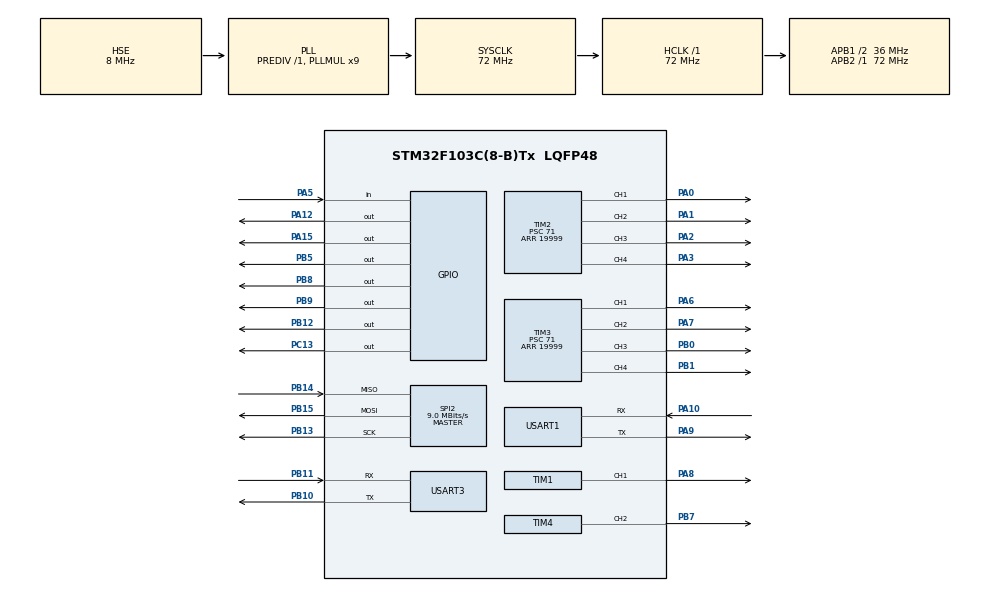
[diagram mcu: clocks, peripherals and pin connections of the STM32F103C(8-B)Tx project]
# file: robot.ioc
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Dma.Request0=TIM4_CH2
Dma.TIM4_CH2.0.Direction=DMA_MEMORY_TO_PERIPH
Dma.TIM4_CH2.0.Instance=DMA1_Channel4
Dma.TIM4_CH2.0.MemDataAlignment=DMA_MDATAALIGN_HALFWORD
Dma.TIM4_CH2.0.MemInc=DMA_MINC_ENABLE
Dma.TIM4_CH2.0.Mode=DMA_NORMAL
Dma.TIM4_CH2.0.PeriphDataAlignment=DMA_PDATAALIGN_HALFWORD
Dma.TIM4_CH2.0.PeriphInc=DMA_PINC_DISABLE
Dma.TIM4_CH2.0.Priority=DMA_PRIORITY_HIGH
FREERTOS.Tasks01=defaultTask,0,128,StartDefaultTask,Default,NULL,Dynamic,NULL,NULL
FREERTOS.configTOTAL_HEAP_SIZE=8192
Mcu.Family=STM32F1
Mcu.Name=STM32F103C(8-B)Tx
Mcu.Package=LQFP48
NVIC.DMA1_Channel4_IRQn=true\:5\:0\:false\:false\:true\:true\:false\:true\:true
NVIC.PriorityGroup=NVIC_PRIORITYGROUP_4
NVIC.USART1_IRQn=true\:5\:0\:false\:false\:true\:true\:true\:true\:true
NVIC.USART3_IRQn=true\:5\:0\:false\:false\:true\:true\:true\:true\:true
PA0-WKUP.Signal=S_TIM2_CH1_ETR
PA1.Signal=S_TIM2_CH2
PA10.GPIO_PuPd=GPIO_PULLUP
PA10.Mode=Asynchronous
PA10.Signal=USART1_RX
PA12.Signal=GPIO_Output
PA13.Mode=Serial_Wire
PA13.Signal=SYS_JTMS-SWDIO
PA14.Mode=Serial_Wire
PA14.Signal=SYS_JTCK-SWCLK
PA15.GPIO_Speed=GPIO_SPEED_FREQ_HIGH
PA15.Signal=GPIO_Output
PA2.Signal=S_TIM2_CH3
PA3.Signal=S_TIM2_CH4
PA5.GPIO_PuPd=GPIO_PULLUP
PA5.Signal=GPIO_Input
PA6.Signal=S_TIM3_CH1
PA7.GPIO_Speed=GPIO_SPEED_FREQ_LOW
PA7.Signal=S_TIM3_CH2
PA8.Signal=S_TIM1_CH1
PA9.Mode=Asynchronous
PA9.Signal=USART1_TX
PB0.Signal=S_TIM3_CH3
PB1.Signal=S_TIM3_CH4
PB10.Mode=Asynchronous
PB10.Signal=USART3_TX
PB11.GPIO_PuPd=GPIO_PULLUP
PB11.Mode=Asynchronous
PB11.Signal=USART3_RX
PB12.Signal=GPIO_Output
PB13.Mode=Full_Duplex_Master
PB13.Signal=SPI2_SCK
PB14.Mode=Full_Duplex_Master
PB14.Signal=SPI2_MISO
PB15.Mode=Full_Duplex_Master
PB15.Signal=SPI2_MOSI
PB5.Signal=GPIO_Output
PB7.GPIO_Speed=GPIO_SPEED_FREQ_HIGH
PB7.Signal=S_TIM4_CH2
PB8.GPIO_ModeDefaultOutputPP=GPIO_MODE_OUTPUT_OD
PB8.GPIO_PuPd=GPIO_NOPULL
PB8.GPIO_Speed=GPIO_SPEED_FREQ_HIGH
PB8.Signal=GPIO_Output
PB9.GPIO_ModeDefaultOutputPP=GPIO_MODE_OUTPUT_OD
PB9.GPIO_PuPd=GPIO_PULLUP
PB9.GPIO_Speed=GPIO_SPEED_FREQ_HIGH
PB9.Signal=GPIO_Output
PC13-TAMPER-RTC.GPIO_ModeDefaultOutputPP=GPIO_MODE_OUTPUT_PP
PC13-TAMPER-RTC.GPIO_PuPd=GPIO_NOPULL
PC13-TAMPER-RTC.PinState=GPIO_PIN_RESET
PC13-TAMPER-RTC.Signal=GPIO_Output
PD0-OSC_IN.Mode=HSE-External-Oscillator
PD0-OSC_IN.Signal=RCC_OSC_IN
PD1-OSC_OUT.Mode=HSE-External-Oscillator
PD1-OSC_OUT.Signal=RCC_OSC_OUT
ProjectManager.HeapSize=0x200
ProjectManager.StackSize=0x400
ProjectManager.TargetToolchain=STM32CubeIDE
RCC.AHBFreq_Value=72000000
RCC.APB1CLKDivider=RCC_HCLK_DIV2
RCC.APB1Freq_Value=36000000
RCC.APB1TimFreq_Value=72000000
RCC.APB2Freq_Value=72000000
RCC.APB2TimFreq_Value=72000000
RCC.HCLKFreq_Value=72000000
RCC.PLLMUL=RCC_PLL_MUL9
RCC.PLLSourceVirtual=RCC_PLLSOURCE_HSE
RCC.SYSCLKFreq_VALUE=72000000
RCC.SYSCLKSource=RCC_SYSCLKSOURCE_PLLCLK
RCC.USBFreq_Value=72000000
SH.S_TIM1_CH1.0=TIM1_CH1,PWM Generation1 CH1
SH.S_TIM2_CH1_ETR.0=TIM2_CH1,PWM Generation1 CH1
SH.S_TIM2_CH2.0=TIM2_CH2,PWM Generation2 CH2
SH.S_TIM2_CH3.0=TIM2_CH3,PWM Generation3 CH3
SH.S_TIM2_CH4.0=TIM2_CH4,PWM Generation4 CH4
SH.S_TIM3_CH1.0=TIM3_CH1,PWM Generation1 CH1
SH.S_TIM3_CH2.0=TIM3_CH2,PWM Generation2 CH2
SH.S_TIM3_CH3.0=TIM3_CH3,PWM Generation3 CH3
SH.S_TIM3_CH4.0=TIM3_CH4,PWM Generation4 CH4
SH.S_TIM4_CH2.0=TIM4_CH2,PWM Generation2 CH2
SPI2.BaudRatePrescaler=SPI_BAUDRATEPRESCALER_4
SPI2.CalculateBaudRate=9.0 MBits/s
SPI2.Direction=SPI_DIRECTION_2LINES
SPI2.Mode=SPI_MODE_MASTER
SPI2.VirtualType=VM_MASTER
TIM1.Channel-PWM\ Generation1\ CH1=TIM_CHANNEL_1
TIM1.Period=19999
TIM1.Prescaler=71
TIM2.Channel-PWM\ Generation1\ CH1=TIM_CHANNEL_1
TIM2.Channel-PWM\ Generation2\ CH2=TIM_CHANNEL_2
TIM2.Channel-PWM\ Generation3\ CH3=TIM_CHANNEL_3
TIM2.Channel-PWM\ Generation4\ CH4=TIM_CHANNEL_4
TIM2.Period=19999
TIM2.Prescaler=71
TIM3.Channel-PWM\ Generation1\ CH1=TIM_CHANNEL_1
TIM3.Channel-PWM\ Generation2\ CH2=TIM_CHANNEL_2
TIM3.Channel-PWM\ Generation3\ CH3=TIM_CHANNEL_3
TIM3.Channel-PWM\ Generation4\ CH4=TIM_CHANNEL_4
TIM3.Period=19999
TIM3.Prescaler=71
TIM4.AutoReloadPreload=TIM_AUTORELOAD_PRELOAD_ENABLE
TIM4.Channel-PWM\ Generation2\ CH2=TIM_CHANNEL_2
TIM4.Period=89
USART1.VirtualMode=VM_ASYNC
USART3.VirtualMode=VM_ASYNC
VP_FREERTOS_VS_CMSIS_V1.Mode=CMSIS_V1
VP_TIM1_VS_ClockSourceINT.Mode=Internal
VP_TIM2_VS_ClockSourceINT.Mode=Internal
VP_TIM3_VS_ClockSourceINT.Mode=Internal
VP_TIM4_VS_ClockSourceINT.Mode=Internal
board=custom

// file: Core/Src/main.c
/* USER CODE BEGIN Header */
  /**
    ******************************************************************************
    * @file           : main.c
    * @brief          : Main program body
    ******************************************************************************
    * @attention
    *
    * Copyright (c) 2026 STMicroelectronics.
    * All rights reserved.
    *
    * This software is licensed under terms that can be found in the LICENSE file
    * in the root directory of this software component.
    * If no LICENSE file comes with this software, it is provided AS-IS.
    *
    ******************************************************************************
    */
/* USER CODE END Header */
#include "main.h"
#include "cmsis_os.h"
#include "dma.h"
#include "spi.h"
#include "tim.h"
#include "usart.h"
#include "gpio.h"

/* USER CODE BEGIN Includes */
  #include "OLED.h"
  #include "LED.h"
  #include "PWM.h"
  #include "BOO.h"
  #include "Input.h"
  #include "Servo.h"
  #include "Serial.h"
  #include "Input.h"
  #include <string.h>
  #include <stdlib.h>
  #include <stdio.h>
  #include <math.h>
/* USER CODE END Includes */

/* USER CODE BEGIN PV */

  extern const unsigned char BiLi[];
  extern const unsigned char DOUYIN[];
  extern const unsigned char LiC[];

  volatile float Angle1 = 90.0f;
  volatile float Angle2 = 90.0f;
  volatile float Angle3 = 90.0f;
  volatile float Angle4 = 90.0f;
  volatile float Angle5 = 0.0f;
  volatile float Angle6 = 180.0f;
  volatile float Angle7 = 0.0f;
  volatile float Angle8 = 180.0f;
  const float MinServoStep = 0.5f;
  const float MaxServoStep = 8.0f;
  const float FastThreshold = 20.0f;
  const float SlowThreshold = 2.0f;

  volatile GaitMode_t gaitMode = GAIT_IDLE;
  volatile uint8_t  gaitStep = 0;
  volatile uint16_t gaitDelayCnt = 0;

  const uint16_t GAIT_DELAY_FORWARD   = 8;
  const uint16_t GAIT_DELAY_BACKWARD  = 8;
  const uint16_t GAIT_DELAY_TURNLEFT  = 10;
  const uint16_t GAIT_DELAY_TURNRIGHT = 10;
  const uint16_t GAIT_DELAY_ROTATECW  = 10;
  const uint16_t GAIT_DELAY_ROTATECCW = 10;
  const uint16_t GAIT_DELAY_SIT       = 12;

  uint8_t oledRefreshCnt = 0;
  const uint8_t OLED_REFRESH_INTERVAL = 8;

  volatile uint8_t LED_State = 0;
  volatile uint16_t LED_DelayCnt = 0;
  const uint16_t LED_DELAY_TIME = 12;

  volatile uint8_t Huadong_State = 0;
  volatile uint8_t Huadong_Step = 0;
  const uint8_t MAX_STEP = 15;
  const uint8_t STEP_INTERVAL = 1;
  volatile uint8_t step_delay = 0;
  volatile uint8_t huadong_release_flag = 0;

  uint16_t booOffCnt = 0;
/* USER CODE END PV */

void SystemClock_Config(void);
void MX_FREERTOS_Init(void);

/* USER CODE BEGIN 0 */
  void SetStandPosture(void) {
       Angle1 = 135.0f; Angle2 = 45.0f;
       Angle3 = 45.0f;  Angle4 = 135.0f;
       Angle5 = 90.0f;  Angle6 = 90.0f;
       Angle7 = 90.0f;  Angle8 = 90.0f;
   }
  void ResetAll(void)
  {
	  SetStandPosture();

      gaitMode = GAIT_IDLE;
      gaitStep = 0;
      gaitDelayCnt = 0;
      OLED_Clear();
      OLED_ShowImage(0, 0, 128, 64, happy);
      OLED_Update();
  }

  void Huadong_Smooth(void)
   {
       OLED_Clear();
       OLED_ShowImage(0, 0, 128, 64, sad);
       OLED_Update();

       // 肩膀保持站立姿态
       Angle1 = 135.0f;
       Angle2 = 45.0f;
       Angle3 = 45.0f;
       Angle4 = 135.0f;
       Servo_SetAngle1(Angle1);
       Servo_SetAngle2(Angle2);
       Servo_SetAngle3(Angle3);
       Servo_SetAngle4(Angle4);

       step_delay++;
       if (step_delay < STEP_INTERVAL) return;
       step_delay = 0;

       switch(Huadong_State)
       {
           case 1:
               Huadong_Step++;
               if (Huadong_Step >= MAX_STEP)
               {
                   Huadong_Step = MAX_STEP;
                   Huadong_State = 2;
               }
               break;
           case 2:
               Huadong_Step--;
               if (Huadong_Step <= 0)
               {
                   Huadong_Step = 0;
                   Huadong_State = 1;
               }
               break;
           default:
               return;
       }

       // 四膝从90向中心收拢再展开
       Angle5 = 90 - (Huadong_Step * 2);   // 90 → 60 → 90
       Angle7 = 90 - (Huadong_Step * 2);
       Angle6 = 90 + (Huadong_Step * 2);   // 90 → 120 → 90
       Angle8 = 90 + (Huadong_Step * 2);

       Servo_SetAngle5(Angle5); Servo_SetAngle6(Angle6);
       Servo_SetAngle7(Angle7); Servo_SetAngle8(Angle8);
   }

/* USER CODE END 0 */

int main(void)
{

  /* MCU Configuration--------------------------------------------------------*/

  /* Reset of all peripherals, Initializes the Flash interface and the Systick. */
  HAL_Init();

  /* Configure the system clock */
  SystemClock_Config();

  /* Initialize all configured peripherals */
  MX_GPIO_Init();
  MX_DMA_Init();
  MX_USART1_UART_Init();
  MX_TIM1_Init();
  MX_TIM2_Init();
  MX_TIM3_Init();
  MX_TIM4_Init();
  MX_USART3_UART_Init();
  MX_SPI2_Init();
  /* USER CODE BEGIN 2 */
    Servo_Init();
    Input_Init();
    BOO_Init();
    OLED_Init();
    LED_Init();
    LED_StartBlink();
    ResetAll();
  /* USER CODE END 2 */

  /* Call init function for freertos objects (in cmsis_os2.c) */
  MX_FREERTOS_Init();

  /* Start scheduler */
  osKernelStart();

  /* We should never get here as control is now taken by the scheduler */

  /* Infinite loop */
    while (1)
    {

    }
}

void SystemClock_Config(void)
{
  RCC_OscInitTypeDef RCC_OscInitStruct = {0};
  RCC_ClkInitTypeDef RCC_ClkInitStruct = {0};

  /** Initializes the RCC Oscillators according to the specified parameters
  * in the RCC_OscInitTypeDef structure.
  */
  RCC_OscInitStruct.OscillatorType = RCC_OSCILLATORTYPE_HSE;
  RCC_OscInitStruct.HSEState = RCC_HSE_ON;
  RCC_OscInitStruct.HSEPredivValue = RCC_HSE_PREDIV_DIV1;
  RCC_OscInitStruct.HSIState = RCC_HSI_ON;
  RCC_OscInitStruct.PLL.PLLState = RCC_PLL_ON;
  RCC_OscInitStruct.PLL.PLLSource = RCC_PLLSOURCE_HSE;
  RCC_OscInitStruct.PLL.PLLMUL = RCC_PLL_MUL9;
  if (HAL_RCC_OscConfig(&RCC_OscInitStruct) != HAL_OK)
  {
    Error_Handler();
  }

  /** Initializes the CPU, AHB and APB buses clocks
  */
  RCC_ClkInitStruct.ClockType = RCC_CLOCKTYPE_HCLK|RCC_CLOCKTYPE_SYSCLK
                              |RCC_CLOCKTYPE_PCLK1|RCC_CLOCKTYPE_PCLK2;
  RCC_ClkInitStruct.SYSCLKSource = RCC_SYSCLKSOURCE_PLLCLK;
  RCC_ClkInitStruct.AHBCLKDivider = RCC_SYSCLK_DIV1;
  RCC_ClkInitStruct.APB1CLKDivider = RCC_HCLK_DIV2;
  RCC_ClkInitStruct.APB2CLKDivider = RCC_HCLK_DIV1;

  if (HAL_RCC_ClockConfig(&RCC_ClkInitStruct, FLASH_LATENCY_2) != HAL_OK)
  {
    Error_Handler();
  }
}

void Error_Handler(void)
{
    __disable_irq();
    while (1)
    {
    }
}

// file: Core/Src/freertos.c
/* USER CODE BEGIN Header */
  /**
    ******************************************************************************
    * File Name          : freertos.c
    * Description        : Code for freertos applications
    ******************************************************************************
    */
/* USER CODE END Header */

#include "FreeRTOS.h"
#include "task.h"
#include "main.h"
#include "cmsis_os.h"

/* USER CODE BEGIN Includes */
  #include "OLED.h"
  #include "LED.h"
  #include "BOO.h"
  #include "Servo.h"
  #include "Serial.h"
  #include "WS2812B.h"
  #include "NRF24L01.h"
  #include <string.h>
  #include <stdlib.h>
  #include <stdio.h>
  #include <math.h>
/* USER CODE END Includes */

/* USER CODE BEGIN Variables */

  //外部变量：定义在 main.c 里，这里用 extern 引用
  extern volatile float Angle1, Angle2, Angle3, Angle4;
  extern volatile float Angle5, Angle6, Angle7, Angle8;
  extern const float MinServoStep, MaxServoStep, FastThreshold, SlowThreshold;

  // 步态状态机
  extern volatile GaitMode_t gaitMode;
  extern volatile uint8_t  gaitStep;
  extern volatile uint16_t gaitDelayCnt;
  extern const uint16_t GAIT_DELAY_FORWARD, GAIT_DELAY_BACKWARD, GAIT_DELAY_TURNLEFT,
                        GAIT_DELAY_TURNRIGHT, GAIT_DELAY_ROTATECW, GAIT_DELAY_ROTATECCW,
                        GAIT_DELAY_SIT;

  // 传感器/滑动
  extern volatile uint8_t Huadong_State, Huadong_Step;
  extern volatile uint8_t step_delay, huadong_release_flag;
  extern const uint8_t MAX_STEP, STEP_INTERVAL;

// LED 模式（可由串口/蓝牙切换），开机默认关灯，StartLedTask 不抢 WS2812B
volatile LedMode_t ledMode = LED_MODE_OFF;

  // main.c 里的函数
  extern void Huadong_Smooth(void);
  extern void SetStandPosture(void);

  extern UART_HandleTypeDef huart1;
  extern UART_HandleTypeDef huart3;
  extern uint8_t Serial_RxData;
  extern uint8_t Voice_RxData;
  QueueHandle_t uartRxQueue;
  TaskHandle_t gaitTaskHandle;
  TimerHandle_t oledTimer;
  TimerHandle_t ledBlinkTimer;
  SemaphoreHandle_t angleMutex;   // 保护 Angle1~Angle8 多任务并发读写

/* USER CODE END Variables */
osThreadId defaultTaskHandle;

/* USER CODE BEGIN FunctionPrototypes */
  void StartServoTask(void * argument);
  void StartSerialTask(void * argument);
  void StartGaitTask(void * argument);
  void StartSensorTask(void * argument);
  void StartLedTask(void * argument);
  void StartNRFTask(void * argument);
  void OledRefreshCallback(TimerHandle_t xTimer);
  void LedBlinkCallback(TimerHandle_t xTimer);
/* USER CODE END FunctionPrototypes */

void StartDefaultTask(void const * argument);

void MX_FREERTOS_Init(void); /* (MISRA C 2004 rule 8.1) */

/* GetIdleTaskMemory prototype (linked to static allocation support) */
void vApplicationGetIdleTaskMemory( StaticTask_t **ppxIdleTaskTCBBuffer, StackType_t **ppxIdleTaskStackBuffer, uint32_t *pulIdleTaskStackSize );

/* USER CODE BEGIN GET_IDLE_TASK_MEMORY */
/* USER CODE END GET_IDLE_TASK_MEMORY */

void MX_FREERTOS_Init(void) {

  /* USER CODE BEGIN RTOS_MUTEX */
    angleMutex = xSemaphoreCreateMutex();
  /* USER CODE END RTOS_MUTEX */

  /* USER CODE BEGIN RTOS_TIMERS */
    oledTimer = xTimerCreate("OLED", pdMS_TO_TICKS(200), pdTRUE, NULL, OledRefreshCallback);
    ledBlinkTimer = xTimerCreate("LED", pdMS_TO_TICKS(300), pdTRUE, NULL, LedBlinkCallback);
    if (oledTimer) xTimerStart(oledTimer, 0);
    if (ledBlinkTimer) xTimerStart(ledBlinkTimer, 0);
  /* USER CODE END RTOS_TIMERS */

  /* USER CODE BEGIN RTOS_QUEUES */
	uartRxQueue = xQueueCreate(128, sizeof(uint8_t));
	WS2812B_Init(8);
	Serial_Init();
	Voice_Init();
  /* USER CODE END RTOS_QUEUES */

  /* Create the thread(s) */
  /* definition and creation of defaultTask */
  osThreadDef(defaultTask, StartDefaultTask, osPriorityNormal, 0, 128);
  defaultTaskHandle = osThreadCreate(osThread(defaultTask), NULL);

  /* USER CODE BEGIN RTOS_THREADS */
    xTaskCreate(StartServoTask,  "Servo",  128, NULL, osPriorityHigh,   NULL);
    xTaskCreate(StartSerialTask, "Serial", 256, NULL, osPriorityNormal, NULL);
    xTaskCreate(StartGaitTask,   "Gait",   512, NULL, osPriorityNormal, &gaitTaskHandle);
    xTaskCreate(StartSensorTask, "Sensor", 256, NULL, osPriorityNormal, NULL);
    xTaskCreate(StartLedTask,    "LED",    256, NULL, osPriorityLow,    NULL);
    xTaskCreate(StartNRFTask,    "NRF",    256, NULL, osPriorityNormal, NULL);
  /* USER CODE END RTOS_THREADS */

}

void StartDefaultTask(void const * argument)
{
  /* USER CODE BEGIN StartDefaultTask */
  // 开机红色闪烁两次
  WS2812B_FlashRed(2, 500);
  // 闪完后灯带关闭，等待蓝牙指令（0x20 彩虹，0x21 关灯）
  for(;;) { osDelay(1000); }
  /* USER CODE END StartDefaultTask */
}

/* USER CODE BEGIN Application */

/* 自动演示：立正→前进→挥手→旋转→后退→蹲下 */
static void RunAutoDemo(void)
{
    ledMode = LED_MODE_RAINBOW;
    xSemaphoreTake(angleMutex, portMAX_DELAY); SetStandPosture(); xSemaphoreGive(angleMutex);
    vTaskDelay(pdMS_TO_TICKS(1000));

    gaitMode = GAIT_FORWARD; gaitStep = 1; gaitDelayCnt = 0;
    xTaskNotifyGive(gaitTaskHandle);
    vTaskDelay(pdMS_TO_TICKS(3000));

    gaitMode = GAIT_IDLE; xSemaphoreTake(angleMutex, portMAX_DELAY); SetStandPosture(); xSemaphoreGive(angleMutex);
    vTaskDelay(pdMS_TO_TICKS(500));

    for (int wave = 0; wave < 3; wave++) {
        for (float t = 0; t <= 1.0f; t += 0.1f) {
            xSemaphoreTake(angleMutex, portMAX_DELAY);
            Angle1 = 135.0f - 30.0f * t;
            Angle5 = 90.0f - 55.0f * t;
            xSemaphoreGive(angleMutex);
            vTaskDelay(pdMS_TO_TICKS(20));
        }
        for (float t = 0; t <= 1.0f; t += 0.1f) {
            xSemaphoreTake(angleMutex, portMAX_DELAY);
            Angle1 = 105.0f + 60.0f * t;
            Angle5 = 35.0f + 110.0f * t;
            xSemaphoreGive(angleMutex);
            vTaskDelay(pdMS_TO_TICKS(20));
        }
        for (float t = 0; t <= 1.0f; t += 0.1f) {
            xSemaphoreTake(angleMutex, portMAX_DELAY);
            Angle1 = 165.0f - 30.0f * t;
            Angle5 = 145.0f - 55.0f * t;
            xSemaphoreGive(angleMutex);
            vTaskDelay(pdMS_TO_TICKS(20));
        }
    }

    for (int wave = 0; wave < 3; wave++) {
        for (float t = 0; t <= 1.0f; t += 0.1f) {
            xSemaphoreTake(angleMutex, portMAX_DELAY);
            Angle2 = 45.0f + 30.0f * t;
            Angle6 = 90.0f + 55.0f * t;
            xSemaphoreGive(angleMutex);
            vTaskDelay(pdMS_TO_TICKS(20));
        }
        for (float t = 0; t <= 1.0f; t += 0.1f) {
            xSemaphoreTake(angleMutex, portMAX_DELAY);
            Angle2 = 75.0f - 60.0f * t;
            Angle6 = 145.0f - 110.0f * t;
            xSemaphoreGive(angleMutex);
            vTaskDelay(pdMS_TO_TICKS(20));
        }
        for (float t = 0; t <= 1.0f; t += 0.1f) {
            xSemaphoreTake(angleMutex, portMAX_DELAY);
            Angle2 = 15.0f + 30.0f * t;
            Angle6 = 35.0f + 55.0f * t;
            xSemaphoreGive(angleMutex);
            vTaskDelay(pdMS_TO_TICKS(20));
        }
    }

    xSemaphoreTake(angleMutex, portMAX_DELAY); SetStandPosture(); xSemaphoreGive(angleMutex);

    gaitMode = GAIT_ROTATE_CW; gaitStep = 1; gaitDelayCnt = 0;
    xTaskNotifyGive(gaitTaskHandle);
    vTaskDelay(pdMS_TO_TICKS(2000));

    gaitMode = GAIT_BACKWARD; gaitStep = 1; gaitDelayCnt = 0;
    xTaskNotifyGive(gaitTaskHandle);
    vTaskDelay(pdMS_TO_TICKS(3000));

    gaitMode = GAIT_SIT; gaitStep = 1; gaitDelayCnt = 0;
    xTaskNotifyGive(gaitTaskHandle);
    vTaskDelay(pdMS_TO_TICKS(2000));

    xSemaphoreTake(angleMutex, portMAX_DELAY); SetStandPosture(); xSemaphoreGive(angleMutex);
    ledMode = LED_MODE_OFF;
    gaitMode = GAIT_IDLE;
}

void StartServoTask(void * argument)
{
    TickType_t xLastWakeTime = xTaskGetTickCount();
    const TickType_t period = pdMS_TO_TICKS(20);

    for(;;)
    {
        // 上锁：确保 9 个角度值读取时的一致性（不被步态任务中途打断）
        xSemaphoreTake(angleMutex, portMAX_DELAY);
        Servo_SetAngle1(Angle1);
        Servo_SetAngle2(Angle2);
        Servo_SetAngle3(Angle3);
        Servo_SetAngle4(Angle4);
        Servo_SetAngle5(Angle5);
        Servo_SetAngle6(Angle6);
        Servo_SetAngle7(Angle7);
        Servo_SetAngle8(Angle8);
        xSemaphoreGive(angleMutex);

        vTaskDelayUntil(&xLastWakeTime, period);
    }
}

void StartSerialTask(void * argument)
{
    uint8_t cmd;

    while (xQueueReceive(uartRxQueue, &cmd, 0) == pdTRUE);
    for(;;)
    {
        if (xQueueReceive(uartRxQueue, &cmd, portMAX_DELAY) == pdTRUE)
        {
            do {
                switch (cmd) {
                    case 0x01: gaitMode = GAIT_FORWARD;    break;
                    case 0x06: gaitMode = GAIT_BACKWARD;   break;
                    case 0x02: gaitMode = GAIT_TURN_RIGHT; break;
                    case 0x03: gaitMode = GAIT_TURN_LEFT;  break;
                    case 0x04: gaitMode = GAIT_ROTATE_CW;  break;
                    case 0x05: gaitMode = GAIT_ROTATE_CCW; break;
                    case 0x10: gaitMode = GAIT_SIT;        break;
                    case 0x00: gaitMode = GAIT_IDLE;       break;
                    case 0x07: gaitMode = GAIT_IDLE; xSemaphoreTake(angleMutex, portMAX_DELAY); SetStandPosture(); xSemaphoreGive(angleMutex); break;
                    // LED 控制命令
                    case 0x09: ledMode = LED_MODE_RAINBOW;   break;
                    case 0x21: ledMode = LED_MODE_OFF;       break;
                    case 0x08: RunAutoDemo(); break;
                    default: break;
                }
                if (gaitMode != GAIT_IDLE || cmd == 0x07) {
                    gaitStep = 1;
                    gaitDelayCnt = 0;
                    xTaskNotifyGive(gaitTaskHandle);
                }
            } while (xQueueReceive(uartRxQueue, &cmd, 0) == pdTRUE);
        }

        vTaskDelay(pdMS_TO_TICKS(25));
    }
}

void StartGaitTask(void * argument)
{
    for(;;)
    {
        // 休眠等待指令
        ulTaskNotifyTake(pdTRUE, portMAX_DELAY);
        while (gaitMode != GAIT_IDLE)
        {
            // 上锁：步态写角度时禁止舵机读，避免读到半组数据
            xSemaphoreTake(angleMutex, portMAX_DELAY);
            // 前进步态
            if (gaitMode == GAIT_FORWARD)
        {
            gaitDelayCnt++;
            if (gaitDelayCnt >= GAIT_DELAY_FORWARD)
            {
                gaitDelayCnt = 0;
                if (gaitStep > 4) gaitStep = 1;
                else gaitStep++;
            }
            switch(gaitStep)
            {
                case 1:
                    Angle1=105; Angle5=90;
                    Angle2=75;  Angle6=90;
                    Angle3=15;  Angle7=60;
                    Angle4=105; Angle8=90;
                    break;
                case 2:
                    Angle1=105; Angle5=90;
                    Angle2=15;  Angle6=120;
                    Angle3=75;  Angle7=90;
                    Angle4=105; Angle8=90;
                    break;
                case 3:
                    Angle1=105; Angle5=90;
                    Angle2=75;  Angle6=90;
                    Angle3=75;  Angle7=90;
                    Angle4=165; Angle8=120;
                    break;
                case 4:
                    Angle1=165; Angle5=60;
                    Angle2=75;  Angle6=90;
                    Angle3=75;  Angle7=90;
                    Angle4=105; Angle8=90;
                    break;
            }
        }

        // 后退步态
        if (gaitMode == GAIT_BACKWARD)
        {
            gaitDelayCnt++;
            if (gaitDelayCnt >= GAIT_DELAY_BACKWARD)
            {
                gaitDelayCnt = 0;
                if (gaitStep > 4) gaitStep = 1;
                else gaitStep++;
            }
            switch(gaitStep)
            {
                case 1:
                    Angle1=165; Angle5=60;
                    Angle2=75;  Angle6=90;
                    Angle3=75;  Angle7=90;
                    Angle4=105; Angle8=90;
                    break;
                case 2:
                    Angle1=105; Angle5=90;
                    Angle2=75;  Angle6=90;
                    Angle3=75;  Angle7=90;
                    Angle4=165; Angle8=120;
                    break;
                case 3:
                    Angle1=105; Angle5=90;
                    Angle2=15;  Angle6=120;
                    Angle3=75;  Angle7=90;
                    Angle4=105; Angle8=90;
                    break;
                case 4:
                    Angle1=105; Angle5=90;
                    Angle2=75;  Angle6=90;
                    Angle3=15;  Angle7=60;
                    Angle4=105; Angle8=90;
                    break;
            }
        }

        // 顺时针旋转
        if (gaitMode == GAIT_ROTATE_CW)
        {
            gaitDelayCnt++;
            if (gaitDelayCnt >= GAIT_DELAY_ROTATECW)
            {
                gaitDelayCnt = 0;
                if (gaitStep > 4) gaitStep = 1;
                else gaitStep++;
            }
            switch(gaitStep)
            {
                case 1:
                    Angle1=105; Angle5=90;  Angle2=15;  Angle6=90;
                    Angle3=15;  Angle7=60;  Angle4=165; Angle8=90;
                    break;
                case 2:
                    Angle1=165; Angle5=60;  Angle2=15;  Angle6=90;
                    Angle3=75;  Angle7=90;  Angle4=165; Angle8=90;
                    break;
                case 3:
                    Angle1=105; Angle5=90;  Angle2=15;  Angle6=90;
                    Angle3=75;  Angle7=90;  Angle4=105; Angle8=120;
                    break;
                case 4:
                    Angle1=105; Angle5=90;  Angle2=75;  Angle6=120;
                    Angle3=75;  Angle7=90;  Angle4=165; Angle8=90;
                    break;
            }
        }

        // 逆时针旋转
        if (gaitMode == GAIT_ROTATE_CCW)
        {
            gaitDelayCnt++;
            if (gaitDelayCnt >= GAIT_DELAY_ROTATECCW)
            {
                gaitDelayCnt = 0;
                if (gaitStep > 4) gaitStep = 1;
                else gaitStep++;
            }
            switch(gaitStep)
            {
                case 1:
                    Angle1=165; Angle5=90;  Angle2=75;  Angle6=90;
                    Angle3=15;  Angle7=90;  Angle4=165; Angle8=120;
                    break;
                case 2:
                    Angle1=165; Angle5=90;  Angle2=15;  Angle6=120;
                    Angle3=15;  Angle7=90;  Angle4=105; Angle8=90;
                    break;
                case 3:
                    Angle1=165; Angle5=90;  Angle2=75;  Angle6=90;
                    Angle3=75;  Angle7=60;  Angle4=105; Angle8=90;
                    break;
                case 4:
                    Angle1=105; Angle5=60;  Angle2=75;  Angle6=90;
                    Angle3=15;  Angle7=90;  Angle4=105; Angle8=90;
                    break;
            }
        }

        // 右转
        if (gaitMode == GAIT_TURN_RIGHT)
        {
            gaitDelayCnt++;
            if (gaitDelayCnt >= GAIT_DELAY_TURNRIGHT)
            {
                gaitDelayCnt = 0;
                if (gaitStep > 4) gaitStep = 1;
                else gaitStep++;
            }
            switch(gaitStep)
            {
                case 1:
                    Angle1=120; Angle5=90;  Angle2=75;  Angle6=90;
                    Angle3=30;  Angle7=60;  Angle4=105; Angle8=90;
                    break;
                case 2:
                    Angle1=120; Angle5=90;  Angle2=15;  Angle6=120;
                    Angle3=60;  Angle7=90;  Angle4=105; Angle8=90;
                    break;
                case 3:
                    Angle1=120; Angle5=90;  Angle2=75;  Angle6=90;
                    Angle3=60;  Angle7=90;  Angle4=165; Angle8=120;
                    break;
                case 4:
                    Angle1=150; Angle5=60;  Angle2=75;  Angle6=90;
                    Angle3=60;  Angle7=90;  Angle4=105; Angle8=90;
                    break;
            }
        }

        // 左转
        if (gaitMode == GAIT_TURN_LEFT)
        {
            gaitDelayCnt++;
            if (gaitDelayCnt >= GAIT_DELAY_TURNLEFT)
            {
                gaitDelayCnt = 0;
                if (gaitStep > 4) gaitStep = 1;
                else gaitStep++;
            }
            switch(gaitStep)
            {
                case 1:
                    Angle1=105; Angle5=90;  Angle2=60;  Angle6=90;
                    Angle3=15;  Angle7=60;  Angle4=120; Angle8=90;
                    break;
                case 2:
                    Angle1=105; Angle5=90;  Angle2=30;  Angle6=120;
                    Angle3=75;  Angle7=90;  Angle4=120; Angle8=90;
                    break;
                case 3:
                    Angle1=105; Angle5=90;  Angle2=60;  Angle6=90;
                    Angle3=75;  Angle7=90;  Angle4=150; Angle8=120;
                    break;
                case 4:
                    Angle1=165; Angle5=60;  Angle2=60;  Angle6=90;
                    Angle3=75;  Angle7=90;  Angle4=120; Angle8=90;
                    break;
            }
        }

        // 蹲下
        if (gaitMode == GAIT_SIT)
        {
            gaitDelayCnt++;
            if (gaitDelayCnt >= GAIT_DELAY_SIT)
            {
                gaitDelayCnt = 0;
                if (gaitStep < 2) gaitStep++;
            }
            switch(gaitStep)
            {
                case 1:
                    Angle1=128; Angle5=90;
                    Angle2=52;  Angle6=90;
                    Angle3=52;  Angle7=65;
                    Angle4=128; Angle8=115;
                    break;
                case 2:
                    Angle1=120; Angle5=75;
                    Angle2=60;  Angle6=105;
                    Angle3=60;  Angle7=45;
                    Angle4=120; Angle8=135;
                    break;
            }
        }

        xSemaphoreGive(angleMutex);
        vTaskDelay(pdMS_TO_TICKS(25));
        }
    }
}

void StartSensorTask(void * argument)
{
    for(;;)
    {
        if (HAL_GPIO_ReadPin(GPIOA, GPIO_PIN_5) == GPIO_PIN_SET)
        {
            if (Huadong_State == 0)
            {
                gaitMode = GAIT_IDLE;
                Huadong_State = 1;
                Huadong_Step = 0;
                step_delay = 0;
                HW_ON();        // 拿起 → 蜂鸣器响
            }
            huadong_release_flag = 1;
        }
        else
        {
            if (huadong_release_flag == 1)
            {
                SetStandPosture();
                huadong_release_flag = 0;
                HW_OFF();       // 放下 → 蜂鸣器关
            }
            Huadong_State = 0;
        }

        if (Huadong_State != 0)
        {
            Huadong_Smooth();
        }

        vTaskDelay(pdMS_TO_TICKS(30));
    }
}

// ── 软件定时器回调 ──
// OLED 每 200ms 刷新一次（代替原来 StartDisplayTask 的手动计数）
void OledRefreshCallback(TimerHandle_t xTimer)
{
    (void)xTimer;
    OLED_Update();
}

// 板载 LED 每 300ms 交替闪烁（LED1亮→LED2亮→循环）
void LedBlinkCallback(TimerHandle_t xTimer)
{
    (void)xTimer;
    static uint8_t alt = 0;
    if (alt) {
        HAL_GPIO_WritePin(GPIOA, GPIO_PIN_12, GPIO_PIN_RESET);  // LED1 ON
        HAL_GPIO_WritePin(GPIOA, GPIO_PIN_15, GPIO_PIN_SET);    // LED2 OFF
    } else {
        HAL_GPIO_WritePin(GPIOA, GPIO_PIN_12, GPIO_PIN_SET);    // LED1 OFF
        HAL_GPIO_WritePin(GPIOA, GPIO_PIN_15, GPIO_PIN_RESET);  // LED2 ON
    }
    alt = !alt;
}

void StartLedTask(void * argument)
{
    // 初始延迟，等 StartDefaultTask 完成开机闪灯（闪灯约需 2s）
    vTaskDelay(pdMS_TO_TICKS(3000));
    TickType_t xLastWakeTime = xTaskGetTickCount();
    uint16_t step = 0;

    for (;;) {
        switch (ledMode) {
            case LED_MODE_RAINBOW: {
                uint32_t grb = WS2812B_GrayToGRB((uint8_t)step);
                uint8_t r = (grb >> 8) & 0xFF;
                uint8_t g = (grb >> 16) & 0xFF;
                uint8_t b = grb & 0xFF;
                for (uint16_t j = 0; j < LED_NUM; j++)
                    WS2812B_SetPixel(j, r, g, b);
                WS2812B_Update();
                step = (step + 1) & 0xFF;
                vTaskDelayUntil(&xLastWakeTime, pdMS_TO_TICKS(8));
                break;
            }
            default:  // LED_MODE_OFF
                for (uint16_t j = 0; j < LED_NUM; j++)
                    WS2812B_SetPixel(j, 0, 0, 0);
                WS2812B_Update();
                vTaskDelay(pdMS_TO_TICKS(100));
                break;
        }
    }
}

void StartNRFTask(void * argument)
{
    uint8_t rxBuf[32];
    uint8_t nrf_ok = 0;
    int lx = 50, ry = 50;
    int deadband_lo = 35, deadband_hi = 65;
    GaitMode_t prevGait = GAIT_IDLE;
    uint32_t rxCount = 0;
    uint8_t prev_sw1 = 0, prev_sw2 = 0;
    uint8_t nrf_active = 0;  // 标记当前步态是否由NRF控制，防覆盖语音/蓝牙指令

    vTaskDelay(pdMS_TO_TICKS(1000));

    printf("NRF: Initializing...\n");
    NRF24L01_Init();

    // 增加重试机制
    for (int retry = 0; retry < 10; retry++) {
        if (NRF24L01_Check() == 0) {
            printf("NRF: Detected!\n");
            NRF24L01_RX_Mode();
            nrf_ok = 1;
            break;
        }
        printf("NRF: Check failed (retry %d/10)\n", retry + 1);
        vTaskDelay(pdMS_TO_TICKS(500));
    }

    if (!nrf_ok) {
        printf("NRF: Init FAILED - check wiring!\n");
    }

    for (;;)
    {
        if (nrf_ok && NRF24L01_RxPacket(rxBuf) == 0)
        {
            rxCount++;

            if (rxBuf[0] == 'L' && rxBuf[1] == 'X')
            {
                /* 解析控制轴: LX(位置2-3)=左X, RY(位置12-13)=右Y */
                lx = (rxBuf[2] - '0') * 10 + (rxBuf[3] - '0');
                ry = (rxBuf[12] - '0') * 10 + (rxBuf[13] - '0');

                /* 读取按键状态 (位置14=左键, 15=右键) */
                uint8_t sw1 = (rxBuf[14] == '1') ? 1 : 0;
                uint8_t sw2 = (rxBuf[15] == '1') ? 1 : 0;

                /* 右键按下 → 切换灯光 */
                if (sw2 && !prev_sw2)
                    ledMode = (ledMode == LED_MODE_RAINBOW) ? LED_MODE_OFF : LED_MODE_RAINBOW;
                prev_sw2 = sw2;

                /* 左键按下 → 执行自动演示 */
                if (sw1 && !prev_sw1) {
                    RunAutoDemo();
                }
                prev_sw1 = sw1;

                /* 摇杆控制逻辑：
                   右摇杆 Y → 前进/后退
                   右摇杆居中 + 左摇杆 X → 原地顺时针/逆时针旋转
                   右摇杆向前 + 左摇杆 X → 左转/右转（行进中转向）
                   nrf_active 防止摇杆回中时覆盖语音/蓝牙的指令
                */
                if (ry > deadband_hi) {
                    nrf_active = 1;
                    if (lx > deadband_hi)
                        gaitMode = GAIT_TURN_RIGHT;    // 右前 + 左左 = 右转
                    else if (lx < deadband_lo)
                        gaitMode = GAIT_TURN_LEFT;     // 右前 + 左右 = 左转
                    else
                        gaitMode = GAIT_FORWARD;       // 仅右前 = 前进
                }
                else if (ry < deadband_lo) {
                    nrf_active = 1;
                    gaitMode = GAIT_BACKWARD;           // 右后 = 后退
                }
                else if (lx > deadband_hi) {
                    nrf_active = 1;
                    gaitMode = GAIT_ROTATE_CW;          // 右中 + 左左 = 顺时针
                }
                else if (lx < deadband_lo) {
                    nrf_active = 1;
                    gaitMode = GAIT_ROTATE_CCW;         // 右中 + 左右 = 逆时针
                }
                else {
                    if (nrf_active) {
                        nrf_active = 0;
                        gaitMode = GAIT_IDLE;
                        xSemaphoreTake(angleMutex, portMAX_DELAY);
                        SetStandPosture();
                        xSemaphoreGive(angleMutex);
                    }
                }

                if (gaitMode != GAIT_IDLE && prevGait != gaitMode) {
                    gaitStep = 1;
                    gaitDelayCnt = 0;
                    xTaskNotifyGive(gaitTaskHandle);
                }
                prevGait = gaitMode;
            }

            // 收到数据就闪一下板载 LED (PC13) — 低电平点亮
            HAL_GPIO_WritePin(GPIOC, GPIO_PIN_13, GPIO_PIN_SET);   // 灭
            vTaskDelay(pdMS_TO_TICKS(100));
            HAL_GPIO_WritePin(GPIOC, GPIO_PIN_13, GPIO_PIN_RESET); // 亮
        }
        else if (!nrf_ok)
        {
            // NRF 未检测到，板载LED常亮提示错误
            HAL_GPIO_WritePin(GPIOC, GPIO_PIN_13, GPIO_PIN_RESET);
        }

        vTaskDelay(pdMS_TO_TICKS(25));
    }
}

/* USER CODE END Application */
